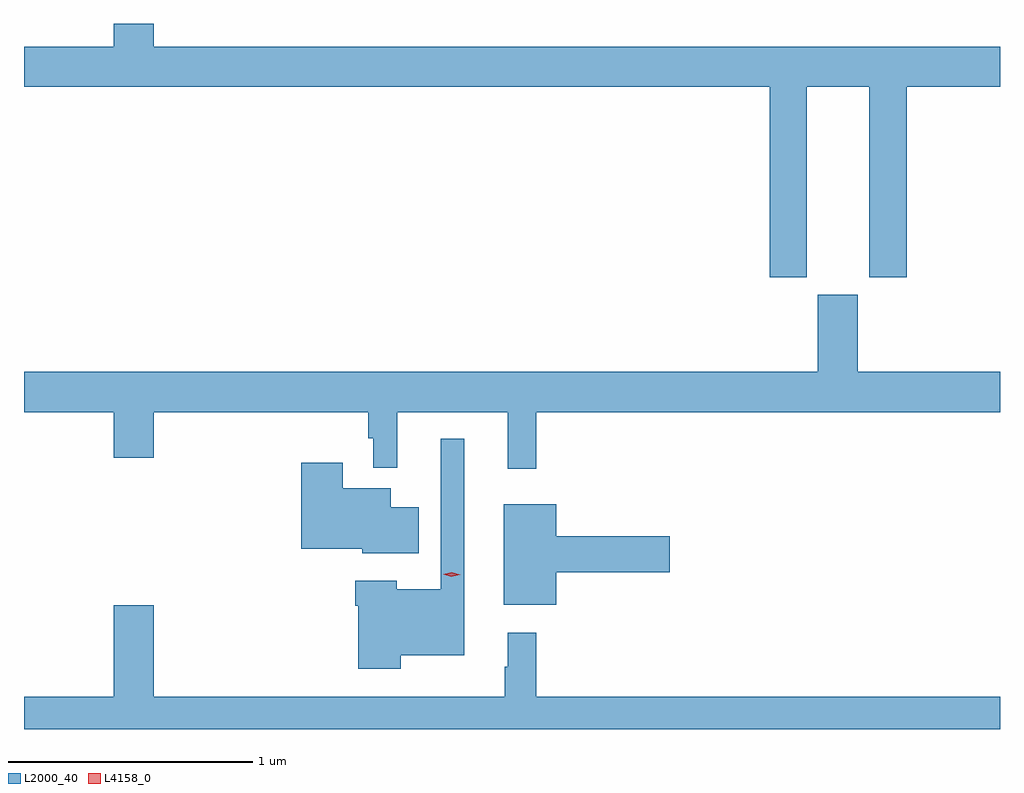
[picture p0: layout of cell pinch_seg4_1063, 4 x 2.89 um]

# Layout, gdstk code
import gdstk
lib = gdstk.Library(unit=1e-6, precision=1e-09)
def P(c, l, *ps):  # polygons
    for p in ps: c.add(gdstk.Polygon(p, *l))
L2000_40 = (2000, 40)
L4158_0 = (4158, 0)

pinch_seg4_1063 = lib.new_cell('pinch_seg4_1063')
P(pinch_seg4_1063, L2000_40, [(887.128,751.532),(887.384,751.532),(887.384,750.753),(887.537,750.753),(887.537,751.532),(887.92,751.532),(887.92,751.696),(884.452,751.696),(884.452,751.791),(884.288,751.791),(884.288,751.696),(883.92,751.696),(883.92,751.532),(886.976,751.532),(886.976,750.753),(887.128,750.753)],
  [(886.019,750.2),(887.92,750.2),(887.92,750.364),(887.338,750.364),(887.338,750.681),(887.174,750.681),(887.174,750.364),(883.92,750.364),(883.92,750.2),(884.288,750.2),(884.288,750.012),(884.452,750.012),(884.452,750.2),(885.331,750.2),(885.331,750.093),(885.351,750.093),(885.351,749.972),(885.449,749.972),(885.449,750.2),(885.902,750.2),(885.902,749.967),(886.019,749.967)],
  [(885.465,749.204),(885.724,749.204),(885.724,750.091),(885.627,750.091),(885.627,749.473),(885.448,749.473),(885.448,749.509),(885.278,749.509),(885.278,749.405),(885.29,749.405),(885.29,749.147),(885.465,749.147)],
  [(885.538,749.809),(885.424,749.809),(885.424,749.887),(885.226,749.887),(885.226,749.992),(885.056,749.992),(885.056,749.639),(885.306,749.639),(885.306,749.621),(885.538,749.621)],
  [(886.102,749.543),(886.567,749.543),(886.567,749.69),(886.102,749.69),(886.102,749.821),(885.887,749.821),(885.887,749.411),(886.102,749.411)],
  [(887.92,749.032),(886.019,749.032),(886.019,749.296),(885.902,749.296),(885.902,749.156),(885.891,749.156),(885.891,749.032),(884.452,749.032),(884.452,749.407),(884.288,749.407),(884.288,749.032),(883.92,749.032),(883.92,748.9),(887.92,748.9)])
P(pinch_seg4_1063, L4158_0, [(885.672,749.524),(885.638,749.536),(885.637,749.536),(885.638,749.536),(885.673,749.544),(885.708,749.532),(885.708,749.532),(885.708,749.532)])

lib.write_gds('pinch_seg4_1063.gds')
